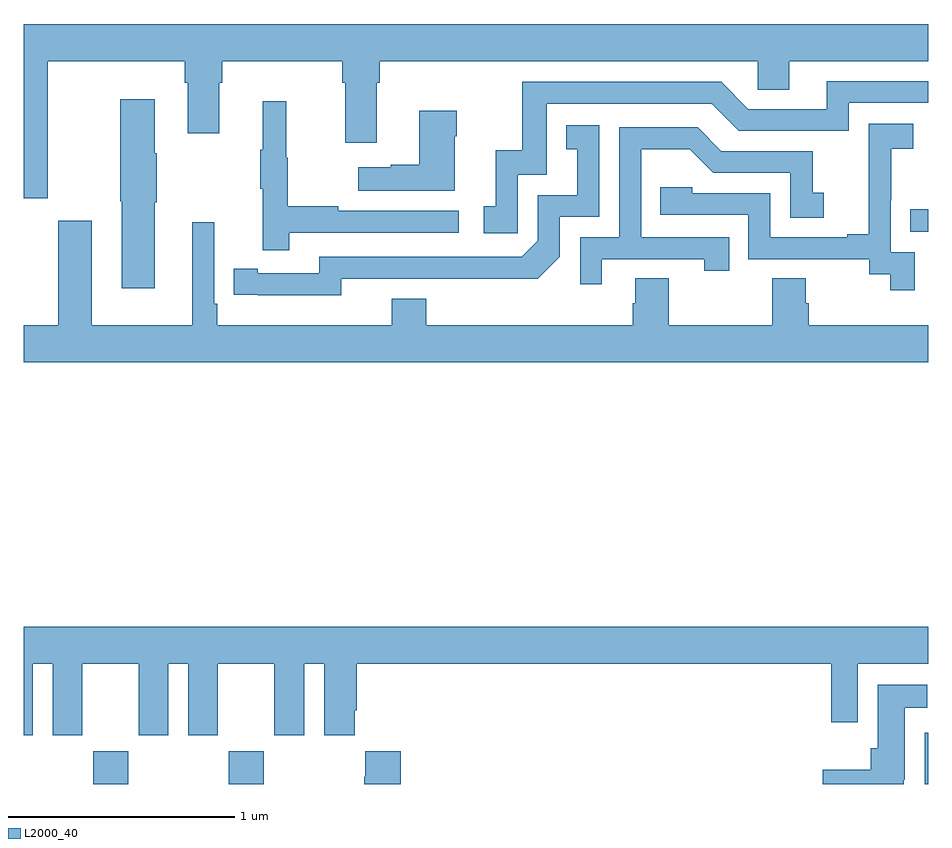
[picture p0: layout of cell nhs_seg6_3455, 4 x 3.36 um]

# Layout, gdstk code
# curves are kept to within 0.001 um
import gdstk
lib = gdstk.Library(unit=1e-6, precision=1e-09)
def R(c, l, rs):  # rectangles x0, y0, x1, y1
    for r in rs: c.add(gdstk.rectangle(r[:2], r[2:], *l))
def P(c, l, *ps):  # polygons
    for p in ps: c.add(gdstk.Polygon(p, *l))
L2000_40 = (2000, 40)

nhs_seg6_3455 = lib.new_cell('nhs_seg6_3455')
R(nhs_seg6_3455, L2000_40, [(315.307,917.5,315.462,917.644), (315.907,917.5,316.062,917.644), (318.983,917.5,319,917.727), (318.919,919.941,319,920.042)])
P(nhs_seg6_3455, L2000_40, [(315.106,920.696),(315.713,920.696),(315.713,920.6),(315.725,920.6),(315.725,920.376),(315.865,920.376),(315.865,920.6),(315.878,920.6),(315.878,920.696),(316.409,920.696),(316.409,920.6),(316.421,920.6),(316.421,920.334),(316.561,920.334),(316.561,920.6),(316.574,920.6),(316.574,920.696),(318.246,920.696),(318.246,920.569),(318.385,920.569),(318.385,920.696),(319,920.696),(319,920.86),(315,920.86),(315,920.09),(315.106,920.09)],
  [(317.184,920.193),(317.313,920.193),(317.313,920.508),(318.042,920.508),(318.162,920.388),(318.648,920.388),(318.648,920.511),(319,920.511),(319,920.607),(318.551,920.607),(318.551,920.484),(318.204,920.484),(318.084,920.604),(317.205,920.604),(317.205,920.302),(317.087,920.302),(317.087,920.055),(317.034,920.055),(317.034,919.935),(317.184,919.935)],
  [(315.58,920.071),(315.588,920.071),(315.588,920.288),(315.58,920.288),(315.58,920.527),(315.427,920.527),(315.427,920.077),(315.434,920.077),(315.434,919.692),(315.58,919.692)],
  [(316.175,919.938),(316.924,919.938),(316.924,920.034),(316.391,920.034),(316.391,920.054),(316.168,920.054),(316.168,920.268),(316.16,920.268),(316.16,920.518),(316.058,920.518),(316.058,920.305),(316.047,920.305),(316.047,920.131),(316.058,920.131),(316.058,919.86),(316.175,919.86)],
  [(316.906,920.363),(316.914,920.363),(316.914,920.476),(316.748,920.476),(316.748,920.237),(316.622,920.237),(316.622,920.227),(316.479,920.227),(316.479,920.123),(316.906,920.123)],
  [(318.939,919.851),(318.834,919.851),(318.834,920.081),(318.836,920.081),(318.836,920.309),(318.934,920.309),(318.934,920.419),(318.736,920.419),(318.736,920.213),(318.737,920.213),(318.737,919.93),(318.641,919.93),(318.641,919.917),(318.3,919.917),(318.3,920.112),(317.955,920.112),(317.955,920.139),(317.815,920.139),(317.815,920.016),(318.204,920.016),(318.204,919.821),(318.738,919.821),(318.738,919.753),(318.831,919.753),(318.831,919.683),(318.939,919.683)],
  [(316.404,919.734),(317.272,919.733),(317.37,919.83),(317.37,920.007),(317.544,920.007),(317.544,920.413),(317.398,920.413),(317.398,920.307),(317.447,920.307),(317.447,920.103),(317.274,920.103),(317.274,919.902),(317.202,919.83),(316.308,919.83),(316.308,919.758),(316.036,919.758),(316.036,919.778),(315.928,919.778),(315.928,919.662),(316.404,919.661)],
  [(317.557,919.821),(318.008,919.821),(318.008,919.77),(318.119,919.77),(318.119,919.917),(317.73,919.917),(317.73,920.306),(317.944,920.306),(318.048,920.202),(318.39,920.202),(318.39,920.004),(318.538,920.004),(318.538,920.113),(318.489,920.113),(318.489,920.298),(318.085,920.298),(317.98,920.403),(317.634,920.403),(317.634,919.917),(317.46,919.917),(317.46,919.71),(317.557,919.71)],
  [(319,919.528),(318.47,919.528),(318.47,919.626),(318.457,919.626),(318.457,919.736),(318.31,919.736),(318.31,919.528),(317.853,919.528),(317.853,919.736),(317.705,919.736),(317.705,919.626),(317.693,919.626),(317.693,919.528),(316.781,919.528),(316.781,919.645),(316.628,919.645),(316.628,919.528),(315.857,919.528),(315.857,919.624),(315.843,919.624),(315.843,919.984),(315.746,919.984),(315.746,919.528),(315.301,919.528),(315.301,919.99),(315.154,919.99),(315.154,919.528),(315,919.528),(315,919.364),(319,919.364)],
  [(315.04,918.032),(315.128,918.032),(315.128,917.715),(315.259,917.715),(315.259,918.032),(315.509,918.032),(315.509,917.715),(315.64,917.715),(315.64,918.032),(315.728,918.032),(315.728,917.715),(315.859,917.715),(315.859,918.032),(316.109,918.032),(316.109,917.715),(316.24,917.715),(316.24,918.032),(316.328,918.032),(316.328,917.715),(316.465,917.715),(316.465,917.827),(316.472,917.827),(316.472,918.032),(318.571,918.032),(318.571,917.772),(318.687,917.772),(318.687,918.032),(319,918.032),(319,918.196),(315,918.196),(315,917.715),(315.04,917.715)],
  [(318.891,917.518),(318.895,917.518),(318.895,917.837),(318.994,917.837),(318.994,917.938),(318.776,917.938),(318.776,917.658),(318.746,917.658),(318.746,917.563),(318.534,917.563),(318.534,917.5),(318.891,917.5)],
  [(316.667,917.644),(316.511,917.644),(316.511,917.531),(316.507,917.531),(316.507,917.5),(316.667,917.5)])

lib.write_gds('nhs_seg6_3455.gds')
